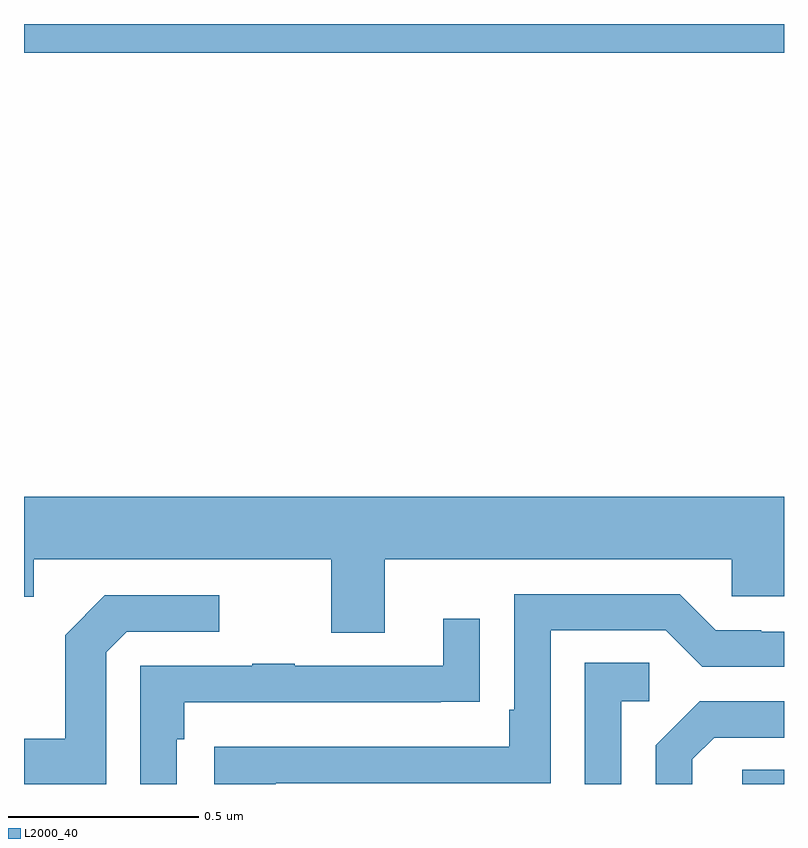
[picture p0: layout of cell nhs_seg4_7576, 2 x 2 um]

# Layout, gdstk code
import gdstk
lib = gdstk.Library(unit=1e-6, precision=1e-09)
def R(c, l, rs):  # rectangles x0, y0, x1, y1
    for r in rs: c.add(gdstk.rectangle(r[:2], r[2:], *l))
def P(c, l, *ps):  # polygons
    for p in ps: c.add(gdstk.Polygon(p, *l))
L2000_40 = (2000, 40)

nhs_seg4_7576 = lib.new_cell('nhs_seg4_7576')
R(nhs_seg4_7576, L2000_40, [(205.89,790.9,206,790.937), (204,792.824,206,792.9)])
P(nhs_seg4_7576, L2000_40, [(204.949,791.492),(205.863,791.492),(205.863,791.394),(206,791.394),(206,791.656),(204,791.656),(204,791.393),(204.025,791.393),(204.025,791.492),(204.809,791.492),(204.809,791.298),(204.949,791.298)],
  [(204.662,790.902),(205.386,790.902),(205.386,791.304),(205.689,791.304),(205.785,791.208),(206,791.208),(206,791.301),(205.94,791.301),(205.94,791.304),(205.821,791.304),(205.725,791.4),(205.29,791.4),(205.29,791.095),(205.277,791.095),(205.277,790.998),(204.501,790.998),(204.501,790.9),(204.662,790.9)],
  [(204.216,791.247),(204.27,791.301),(204.514,791.301),(204.514,791.397),(204.213,791.397),(204.108,791.291),(204.108,791.019),(204,791.019),(204,790.9),(204.216,790.9)],
  [(204.402,791.018),(204.422,791.018),(204.422,791.115),(205.097,791.115),(205.097,791.116),(205.199,791.116),(205.199,791.335),(205.103,791.335),(205.103,791.211),(204.713,791.211),(204.713,791.216),(204.601,791.216),(204.601,791.211),(204.306,791.211),(204.306,790.9),(204.402,790.9)],
  [(205.572,791.118),(205.645,791.118),(205.645,791.219),(205.476,791.219),(205.476,790.9),(205.572,790.9)],
  [(205.759,790.965),(205.816,791.022),(206,791.022),(206,791.118),(205.778,791.118),(205.662,791.002),(205.662,790.9),(205.759,790.9)])

lib.write_gds('nhs_seg4_7576.gds')
